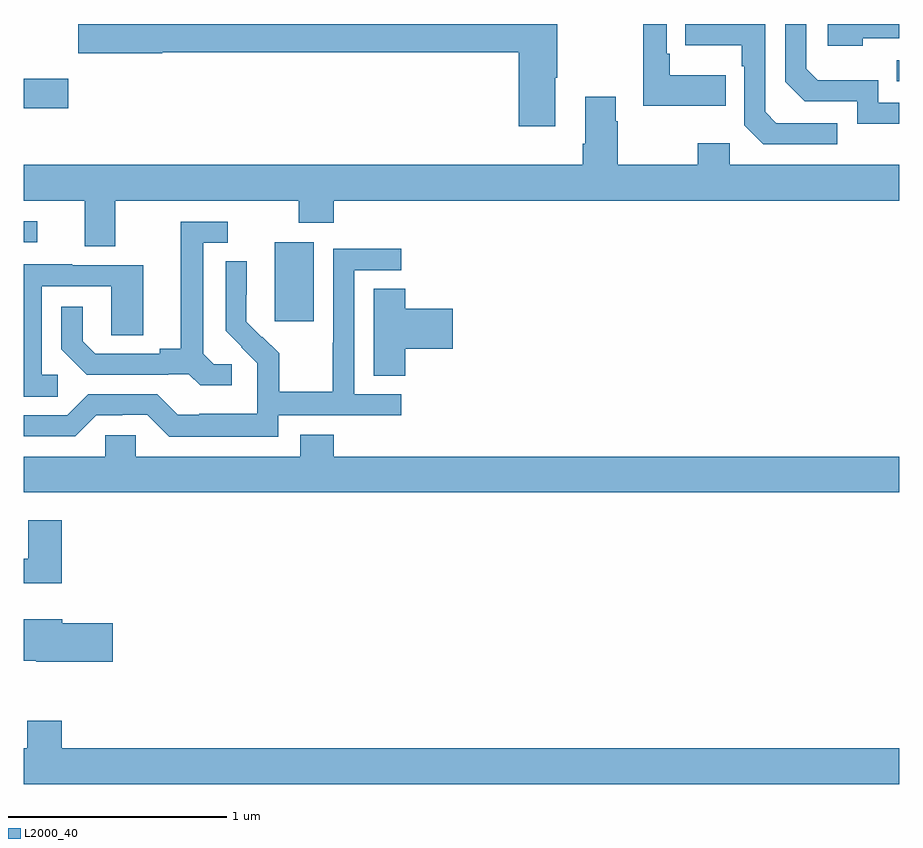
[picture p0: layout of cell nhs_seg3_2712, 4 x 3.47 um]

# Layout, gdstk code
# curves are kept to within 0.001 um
import gdstk
lib = gdstk.Library(unit=1e-6, precision=1e-09)
def R(c, l, rs):  # rectangles x0, y0, x1, y1
    for r in rs: c.add(gdstk.rectangle(r[:2], r[2:], *l))
def P(c, l, *ps):  # polygons
    for p in ps: c.add(gdstk.Polygon(p, *l))
L2000_40 = (2000, 40)

nhs_seg3_2712 = lib.new_cell('nhs_seg3_2712')
R(nhs_seg3_2712, L2000_40, [(252.146,691.041,252.325,691.402), (251,691.404,251.062,691.5), (251,692.015,251.203,692.15), (254.989,692.139,255,692.235)])
P(nhs_seg3_2712, L2000_40, [(254.834,692.334),(255,692.334),(255,692.4),(254.673,692.4),(254.673,692.3),(254.834,692.3)],
  [(254.716,691.947),(254.439,691.947),(254.388,691.998),(254.388,692.4),(254.023,692.4),(254.023,692.303),(254.28,692.303),(254.28,692.207),(254.292,692.207),(254.292,691.938),(254.379,691.851),(254.716,691.851)],
  [(255,692.04),(254.904,692.04),(254.904,692.143),(254.627,692.143),(254.574,692.196),(254.574,692.4),(254.478,692.4),(254.478,692.136),(254.568,692.046),(254.808,692.046),(254.808,691.944),(255,691.944)],
  [(254.207,692.167),(253.951,692.167),(253.951,692.263),(253.938,692.263),(253.938,692.4),(253.83,692.4),(253.83,692.027),(254.207,692.027)],
  [(253.429,692.155),(253.437,692.155),(253.437,692.4),(251.25,692.4),(251.25,692.267),(251.634,692.267),(251.634,692.272),(253.262,692.272),(253.262,691.932),(253.429,691.932)],
  [(251.419,691.592),(252.256,691.592),(252.256,691.493),(252.416,691.493),(252.416,691.592),(255,691.592),(255,691.756),(254.226,691.756),(254.226,691.855),(254.08,691.855),(254.08,691.756),(253.713,691.756),(253.713,691.955),(253.705,691.955),(253.705,692.068),(253.565,692.068),(253.565,691.852),(253.553,691.852),(253.553,691.756),(251,691.756),(251,691.592),(251.279,691.592),(251.279,691.384),(251.419,691.384)],
  [(251.95,690.846),(251.868,690.846),(251.821,690.893),(251.821,691.401),(251.932,691.401),(251.932,691.497),(251.717,691.497),(251.717,690.917),(251.621,690.917),(251.621,690.894),(251.326,690.894),(251.269,690.951),(251.269,691.108),(251.172,691.108),(251.172,690.914),(251.288,690.798),(251.66,690.798),(251.66,690.801),(251.754,690.801),(251.806,690.749),(251.95,690.749)],
  [(252.162,690.612),(252.724,690.612),(252.724,690.708),(252.51,690.708),(252.51,691.275),(252.724,691.275),(252.724,691.374),(252.414,691.374),(252.414,690.944),(252.412,690.944),(252.412,690.721),(252.167,690.721),(252.167,690.895),(252.09,690.972),(252.087,690.969),(252.017,691.04),(252.018,691.316),(251.922,691.316),(251.922,690.998),(252.068,690.85),(252.068,690.753),(252.066,690.753),(252.066,690.619),(251.803,690.619),(251.803,690.615),(251.703,690.615),(251.61,690.708),(251.295,690.708),(251.199,690.612),(251,690.612),(251,690.516),(251.235,690.516),(251.331,690.612),(251.45,690.612),(251.45,690.615),(251.565,690.615),(251.665,690.515),(252.162,690.515)],
  [(251.155,690.798),(251.082,690.798),(251.082,691.203),(251.4,691.203),(251.4,690.979),(251.545,690.979),(251.545,691.299),(251.221,691.299),(251.221,691.303),(251,691.303),(251,690.697),(251.155,690.697)],
  [(252.743,690.917),(252.961,690.917),(252.961,691.1),(252.743,691.1),(252.743,691.19),(252.599,691.19),(252.599,690.793),(252.743,690.793)],
  [(255,690.424),(252.416,690.424),(252.416,690.523),(252.263,690.523),(252.263,690.424),(251.511,690.424),(251.511,690.522),(251.373,690.522),(251.373,690.424),(251,690.424),(251,690.26),(255,690.26)],
  [(251.174,690.133),(251.021,690.133),(251.021,689.956),(251,689.956),(251,689.846),(251.174,689.846)],
  [(251.407,689.663),(251.176,689.663),(251.176,689.68),(251,689.68),(251,689.492),(251.058,689.492),(251.058,689.486),(251.407,689.486)],
  [(255,689.092),(251.174,689.092),(251.174,689.216),(251.017,689.216),(251.017,689.092),(251,689.092),(251,688.928),(255,688.928)])

lib.write_gds('nhs_seg3_2712.gds')
